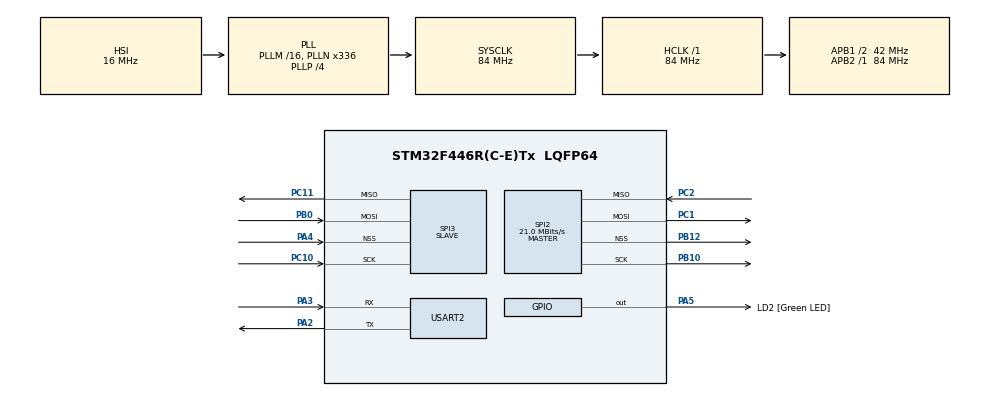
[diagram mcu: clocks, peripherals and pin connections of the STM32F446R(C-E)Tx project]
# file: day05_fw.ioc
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Dma.Request0=SPI2_RX
Dma.Request1=SPI2_TX
Dma.Request2=SPI3_RX
Dma.Request3=SPI3_TX
Dma.SPI2_RX.0.Direction=DMA_PERIPH_TO_MEMORY
Dma.SPI2_RX.0.FIFOMode=DMA_FIFOMODE_DISABLE
Dma.SPI2_RX.0.Instance=DMA1_Stream3
Dma.SPI2_RX.0.MemDataAlignment=DMA_MDATAALIGN_BYTE
Dma.SPI2_RX.0.MemInc=DMA_MINC_ENABLE
Dma.SPI2_RX.0.Mode=DMA_NORMAL
Dma.SPI2_RX.0.PeriphDataAlignment=DMA_PDATAALIGN_BYTE
Dma.SPI2_RX.0.PeriphInc=DMA_PINC_DISABLE
Dma.SPI2_RX.0.Priority=DMA_PRIORITY_LOW
Dma.SPI2_TX.1.Direction=DMA_MEMORY_TO_PERIPH
Dma.SPI2_TX.1.FIFOMode=DMA_FIFOMODE_DISABLE
Dma.SPI2_TX.1.Instance=DMA1_Stream4
Dma.SPI2_TX.1.MemDataAlignment=DMA_MDATAALIGN_BYTE
Dma.SPI2_TX.1.MemInc=DMA_MINC_ENABLE
Dma.SPI2_TX.1.Mode=DMA_NORMAL
Dma.SPI2_TX.1.PeriphDataAlignment=DMA_PDATAALIGN_BYTE
Dma.SPI2_TX.1.PeriphInc=DMA_PINC_DISABLE
Dma.SPI2_TX.1.Priority=DMA_PRIORITY_LOW
Dma.SPI3_RX.2.Direction=DMA_PERIPH_TO_MEMORY
Dma.SPI3_RX.2.FIFOMode=DMA_FIFOMODE_DISABLE
Dma.SPI3_RX.2.Instance=DMA1_Stream0
Dma.SPI3_RX.2.MemDataAlignment=DMA_MDATAALIGN_BYTE
Dma.SPI3_RX.2.MemInc=DMA_MINC_ENABLE
Dma.SPI3_RX.2.Mode=DMA_NORMAL
Dma.SPI3_RX.2.PeriphDataAlignment=DMA_PDATAALIGN_BYTE
Dma.SPI3_RX.2.PeriphInc=DMA_PINC_DISABLE
Dma.SPI3_RX.2.Priority=DMA_PRIORITY_LOW
Dma.SPI3_TX.3.Direction=DMA_MEMORY_TO_PERIPH
Dma.SPI3_TX.3.FIFOMode=DMA_FIFOMODE_DISABLE
Dma.SPI3_TX.3.Instance=DMA1_Stream5
Dma.SPI3_TX.3.MemDataAlignment=DMA_MDATAALIGN_BYTE
Dma.SPI3_TX.3.MemInc=DMA_MINC_ENABLE
Dma.SPI3_TX.3.Mode=DMA_NORMAL
Dma.SPI3_TX.3.PeriphDataAlignment=DMA_PDATAALIGN_BYTE
Dma.SPI3_TX.3.PeriphInc=DMA_PINC_DISABLE
Dma.SPI3_TX.3.Priority=DMA_PRIORITY_LOW
Mcu.Family=STM32F4
Mcu.Name=STM32F446R(C-E)Tx
Mcu.Package=LQFP64
NVIC.DMA1_Stream0_IRQn=true\:0\:0\:false\:false\:true\:false\:true\:true
NVIC.DMA1_Stream3_IRQn=true\:0\:0\:false\:false\:true\:false\:true\:true
NVIC.DMA1_Stream4_IRQn=true\:0\:0\:false\:false\:true\:false\:true\:true
NVIC.DMA1_Stream5_IRQn=true\:0\:0\:false\:false\:true\:false\:true\:true
NVIC.PriorityGroup=NVIC_PRIORITYGROUP_0
PA2.Mode=Asynchronous
PA2.Signal=USART2_TX
PA3.Mode=Asynchronous
PA3.Signal=USART2_RX
PA4.Mode=NSS_Signal_Hard_Input
PA4.Signal=SPI3_NSS
PA5.GPIO_Label=LD2 [Green LED]
PA5.Signal=GPIO_Output
PB0.Mode=Full_Duplex_Slave
PB0.Signal=SPI3_MOSI
PB10.Mode=Full_Duplex_Master
PB10.Signal=SPI2_SCK
PB12.Mode=NSS_Signal_Hard_Output
PB12.Signal=SPI2_NSS
PC1.Mode=Full_Duplex_Master
PC1.Signal=SPI2_MOSI
PC10.Mode=Full_Duplex_Slave
PC10.Signal=SPI3_SCK
PC11.Mode=Full_Duplex_Slave
PC11.Signal=SPI3_MISO
PC2.Mode=Full_Duplex_Master
PC2.Signal=SPI2_MISO
ProjectManager.HeapSize=0x200
ProjectManager.StackSize=0x400
ProjectManager.TargetToolchain=STM32CubeIDE
RCC.48MHZClocksFreq_Value=84000000
RCC.AHBFreq_Value=84000000
RCC.APB1CLKDivider=RCC_HCLK_DIV2
RCC.APB1Freq_Value=42000000
RCC.APB1TimFreq_Value=84000000
RCC.APB2Freq_Value=84000000
RCC.APB2TimFreq_Value=84000000
RCC.CortexFreq_Value=84000000
RCC.FLatency-AdvancedSettings=FLASH_LATENCY_2
RCC.HCLKFreq_Value=84000000
RCC.HSE_VALUE=8000000
RCC.HSI_VALUE=16000000
RCC.PLLN=336
RCC.PLLP=RCC_PLLP_DIV4
RCC.SYSCLKFreq_VALUE=84000000
RCC.SYSCLKSource=RCC_SYSCLKSOURCE_PLLCLK
RCC.USBFreq_Value=168000000
RCC.VCOOutputFreq_Value=336000000
SPI2.CalculateBaudRate=21.0 MBits/s
SPI2.Direction=SPI_DIRECTION_2LINES
SPI2.Mode=SPI_MODE_MASTER
SPI2.VirtualNSS=VM_NSSHARD
SPI2.VirtualType=VM_MASTER
SPI3.Direction=SPI_DIRECTION_2LINES
SPI3.Mode=SPI_MODE_SLAVE
SPI3.VirtualNSS=VM_NSSHARD
SPI3.VirtualType=VM_SLAVE
USART2.VirtualMode=VM_ASYNC
board=NUCLEO-F446RE

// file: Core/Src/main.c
/* USER CODE BEGIN Header */
/**
  ******************************************************************************
  * @file           : main.c
  * @brief          : Main program body
  ******************************************************************************
  * @attention
  *
  * Copyright (c) 2025 STMicroelectronics.
  * All rights reserved.
  *
  * This software is licensed under terms that can be found in the LICENSE file
  * in the root directory of this software component.
  * If no LICENSE file comes with this software, it is provided AS-IS.
  *
  ******************************************************************************
  */
/* USER CODE END Header */
#include "main.h"
#include "dma.h"
#include "spi.h"
#include "usart.h"
#include "gpio.h"
#include <stdarg.h>
#include <stdio.h>
#include <string.h>

/* USER CODE BEGIN PD */
#define LEN 256
/* USER CODE END PD */

/* USER CODE BEGIN PV */
extern SPI_HandleTypeDef hspi2; // master
extern SPI_HandleTypeDef hspi3; // slave
extern UART_HandleTypeDef huart2; // UART for debugging

static uint8_t m_tx[LEN], m_rx[LEN];
static uint8_t s_tx[LEN], s_rx[LEN];

static volatile uint8_t m_done = 0, s_done = 0;

/* USER CODE END PV */

void SystemClock_Config(void);

/* USER CODE BEGIN 0 */

// debug over UART
static void debug(const char *fmt, ...) {
    char buf[160]; // temp buffer on the stack to hold formatted message before sendeing
    va_list ap; // va_list is a special type to traverse variable args
    va_start(ap, fmt); // initializes ap so it points to the first var arg after fmt;

    // works like snprintf, taking va_list instead of direct args
    // it writes a formatted string into buf using fmt and ap
    // and also ensures no more than sizeof(buf) chars are written (160 here)
    int n = vsnprintf(buf, sizeof(buf), fmt, ap);

    // mandatory after calling va_start
    va_end(ap);

    if (n < 0) return; // indicates some sort of formatting error or failure with vsnprintf
    if (n > (int)sizeof(buf)) n = sizeof(buf); // truncates the string as to not overflow the buffer

    // uses HALs blocking transmit function to transmit over UART
    // &huart2 is the UART handle (goes out onto USART2)
    // (uint8_t*)buf os casing the message string into bytes
    // (uint16_t)n represents how many characters to send.
    // HAL_MAX_DELAY means "wait forever until the transmission finishes"
    HAL_UART_Transmit(&huart2, (uint8_t*)buf, (uint16_t)n, HAL_MAX_DELAY);
}

// puts the slave in "ready and waiting" state so it is ready for first master clock pulse.
static void slave_arm_dma(void) {
	// fill the slave tx buffer with a known XOR index pattern
	// question: why do we use this pattern?
	// answer: using this pattern gives high-variation testing data (alternating bits, all bits are different)
	// allows us to catch any minor mistakes we made in MCU configuration, wiring, or code.
    for (uint16_t i = 0; i < LEN; i++) {
    	s_tx[i] = (uint8_t)(0x55 ^ i);
    }

    // this flag indicate that the transfer is complete, and here it's not.
    // we will set this flag in the DMA complete callback so that we know when the transfer finished.
    s_done = 0;

    // slave peripheral will use DMA both ways
    // read bytes from s_tx and write to SPI3->DR
    // then read received bytes from SPI3->DR and store into s_rx.
    // question: what exactly is SPI3->DR?
    // answer: SPI3->DR is the hardware SPI data register for the peripheral.
    // when using DMA we need an intermediate step of writing into then reading from that data register.
    // DMA never writes directly into the other memory.
    // question: why do we bother writing from s_tx to s_rx?? shouldn't we write to the m_rx
    // answer: we're not writing in that way. 2 DMA streams run on the slave, the tx and rx streams.
    // the tx stream shifts a bit onto MISO toward the master
    // the rx stream takes a bit from MOSI into the data register, and then DMA into s_rx.
    if (HAL_SPI_TransmitReceive_DMA(&hspi3, s_tx, s_rx, LEN) != HAL_OK) {
        Error_Handler();
    }
}

// drives the SPI transaction, we call this after the slave is armed.
static void master_start_dma(void) {
	// prepare master tx buffer with another known pattern
    for (uint16_t i = 0; i < LEN; i++) {
    	m_tx[i] = (uint8_t)(0xA0 + i);
    }

    // clear the master done flag
    m_done = 0;

    // start master transfer using DMA
    // each clock byte from m_tx shifted out to MOSI via DMA, feeding SPI2->DR.
    // then, byte from MISO sampled into SPI2->DR and DMA stores in m_rx.
    if (HAL_SPI_TransmitReceive_DMA(&hspi2, m_tx, m_rx, LEN) != HAL_OK) {
        Error_Handler();
    }
}

// DMA completion callbacks
void HAL_SPI_TxRxCpltCallback(SPI_HandleTypeDef *hspi) {
	// When the transaction via DMA is complete, we will set the "done" status to 1.
	// This lets us know the SPI transaction was successful.
    if (hspi->Instance == SPI2) m_done = 1;
    if (hspi->Instance == SPI3) s_done = 1;
}

void HAL_SPI_ErrorCallback(SPI_HandleTypeDef *hspi) {
    // Inspect hspi->ErrorCode if needed
    __NOP(); // do nothing instruction, can set breakpoint here for debugging

    // alternatively we would like some sort of error indicator and handling.
}
/* USER CODE END 0 */

int main(void)
{

  /* MCU Configuration--------------------------------------------------------*/

  /* Reset of all peripherals, Initializes the Flash interface and the Systick. */
  HAL_Init();

  /* Configure the system clock */
  SystemClock_Config();

  /* Initialize all configured peripherals */
  MX_GPIO_Init();
  MX_DMA_Init();
  MX_SPI2_Init();
  MX_SPI3_Init();
  MX_USART2_UART_Init();
  /* USER CODE BEGIN 2 */

  debug("peripherals initialized\r\n");
  debug("initializing SPI over DMA...\r\n");

  slave_arm_dma();
  master_start_dma();

  uint32_t lastBlink = HAL_GetTick();

  // make sure LED is off to start
  HAL_GPIO_WritePin(LD2_GPIO_Port, LD2_Pin, GPIO_PIN_RESET);

  // save time for timeout checking
  uint32_t watchdog_start = HAL_GetTick();

  // since DMA runs async to the main loop, we need to wait for the DMA actions to complete.
  while (!(m_done && s_done)) {
	  uint32_t now = HAL_GetTick();
	  // bilnk LED every 50ms to indicate we are waiting for the slame & master to be ready.
	  if (now - lastBlink >= 50U) {
		  HAL_GPIO_TogglePin(LD2_GPIO_Port, LD2_Pin);
		  lastBlink = now;
	  }

	  // timeout and handle error if takes too long.
	  if (now - watchdog_start > 2000U) {
		  Error_Handler();
	  }
  }

  debug("DMA & SPI test completed\r\n");

  uint32_t errors = 0;

  debug("verifying slave receive\r\n");
  // verify
  for (uint16_t i = 0; i < LEN; i++) {
	  debug("s_rx %u m_tx %u\r\n", s_rx[i], m_tx[i]);
	  if (s_rx[i] != m_tx[i]) errors++;
  }

  debug("verifying master receive\r\n");
  for (uint16_t i = 0; i < LEN; i++) {
	  debug("m_rx %u s_tx %u\r\n", m_rx[i], s_tx[i]);
	  if (m_rx[i] != s_tx[i]) errors++;
  }

  if (errors == 0) {
	  debug("No errors found\r\n");
  } else {
	  debug("%u Errors found.\r\n", errors);
  }

  // indicate success by enabling LED
  HAL_GPIO_WritePin(LD2_GPIO_Port, LD2_Pin, GPIO_PIN_SET);

  /* USER CODE END 2 */

  /* Infinite loop */
  while (1)
  {

  }
}

void SystemClock_Config(void)
{
  RCC_OscInitTypeDef RCC_OscInitStruct = {0};
  RCC_ClkInitTypeDef RCC_ClkInitStruct = {0};

  /** Configure the main internal regulator output voltage
  */
  __HAL_RCC_PWR_CLK_ENABLE();
  __HAL_PWR_VOLTAGESCALING_CONFIG(PWR_REGULATOR_VOLTAGE_SCALE3);

  /** Initializes the RCC Oscillators according to the specified parameters
  * in the RCC_OscInitTypeDef structure.
  */
  RCC_OscInitStruct.OscillatorType = RCC_OSCILLATORTYPE_HSI;
  RCC_OscInitStruct.HSIState = RCC_HSI_ON;
  RCC_OscInitStruct.HSICalibrationValue = RCC_HSICALIBRATION_DEFAULT;
  RCC_OscInitStruct.PLL.PLLState = RCC_PLL_ON;
  RCC_OscInitStruct.PLL.PLLSource = RCC_PLLSOURCE_HSI;
  RCC_OscInitStruct.PLL.PLLM = 16;
  RCC_OscInitStruct.PLL.PLLN = 336;
  RCC_OscInitStruct.PLL.PLLP = RCC_PLLP_DIV4;
  RCC_OscInitStruct.PLL.PLLQ = 2;
  RCC_OscInitStruct.PLL.PLLR = 2;
  if (HAL_RCC_OscConfig(&RCC_OscInitStruct) != HAL_OK)
  {
    Error_Handler();
  }

  /** Initializes the CPU, AHB and APB buses clocks
  */
  RCC_ClkInitStruct.ClockType = RCC_CLOCKTYPE_HCLK|RCC_CLOCKTYPE_SYSCLK
                              |RCC_CLOCKTYPE_PCLK1|RCC_CLOCKTYPE_PCLK2;
  RCC_ClkInitStruct.SYSCLKSource = RCC_SYSCLKSOURCE_PLLCLK;
  RCC_ClkInitStruct.AHBCLKDivider = RCC_SYSCLK_DIV1;
  RCC_ClkInitStruct.APB1CLKDivider = RCC_HCLK_DIV2;
  RCC_ClkInitStruct.APB2CLKDivider = RCC_HCLK_DIV1;

  if (HAL_RCC_ClockConfig(&RCC_ClkInitStruct, FLASH_LATENCY_2) != HAL_OK)
  {
    Error_Handler();
  }
}

void Error_Handler(void)
{
  __disable_irq();
  while (1)
  {
  }
}
